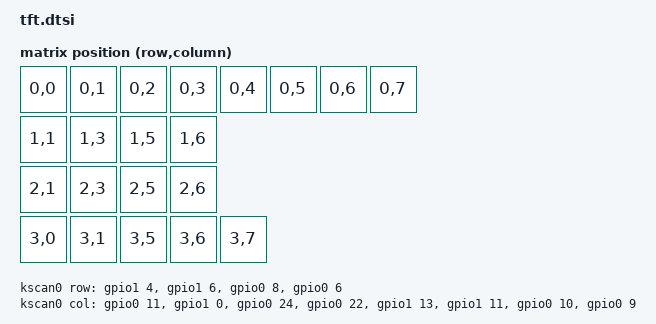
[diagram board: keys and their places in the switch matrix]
/*
aaaaaaaaaaaaaaaaaaaaaaaaaaaaaaaaaaaaaaaaaaaaaaaaaaaaaaaaaaaaa * Copyright (c) 2025 Matthijs Muller
 *
 * SPDX-License-Identifier: MIT
 */

#include <dt-bindings/zmk/matrix_transform.h>

/ {
	chosen {
		zmk,kscan = &kscan0;
		zmk,matrix_transform = &default_transform;
	};

	default_transform: keymap_transform_0 {
		compatible = "zmk,matrix-transform";
		columns = <8>;
		rows = <4>;
		map = <
			RC(0,0) RC(0,1) RC(0,2) RC(0,3) RC(0,4) RC(0,5) RC(0,6) RC(0,7)
			RC(1,1) RC(1,3) RC(1,5) RC(1,6)
			RC(2,1) RC(2,3) RC(2,5) RC(2,6)
			RC(3,0) RC(3,1) RC(3,5) RC(3,6) RC(3,7)
		>;
	};

	// Using known working pins from corne and other nice_nano_v2 keyboards
	kscan0: kscan_0 {
		compatible = "zmk,kscan-gpio-matrix";
		label = "KSCAN";
		diode-direction = "col2row";
		
		col-gpios
			= <&gpio0 11 GPIO_ACTIVE_HIGH>    // P0.09 (pro_micro pin 10/A2)
			, <&gpio1 0 GPIO_ACTIVE_HIGH>   // P0.10 (pro_micro pin 16/MOSI) 
			, <&gpio0 24 GPIO_ACTIVE_HIGH>   // P1.11 (pro_micro pin 14/MISO)
			, <&gpio0 22 GPIO_ACTIVE_HIGH>   // P1.13 (pro_micro pin 15/SCK)
			, <&gpio1 13 GPIO_ACTIVE_HIGH>   // P0.22 (pro_micro pin 20/A1)
			, <&gpio1 11 GPIO_ACTIVE_HIGH>   // P0.24 (pro_micro pin 21/A3)
			, <&gpio0 10 GPIO_ACTIVE_HIGH>    // P1.00 (pro_micro pin 1/TX)
			, <&gpio0 9 GPIO_ACTIVE_HIGH>   // P0.11 (pro_micro pin 2/RX)
			;
			
		row-gpios
			= <&gpio1 4 (GPIO_ACTIVE_HIGH | GPIO_PULL_DOWN)>    // P1.04 (pro_micro pin 4)
			, <&gpio1 6 (GPIO_ACTIVE_HIGH | GPIO_PULL_DOWN)>    // P1.06 (pro_micro pin 5)
			, <&gpio0 8 (GPIO_ACTIVE_HIGH | GPIO_PULL_DOWN)>    // P0.08 (pro_micro pin 6)
			, <&gpio0 6 (GPIO_ACTIVE_HIGH | GPIO_PULL_DOWN)>    // P0.06 (pro_micro pin 7)
			;
	};
};
